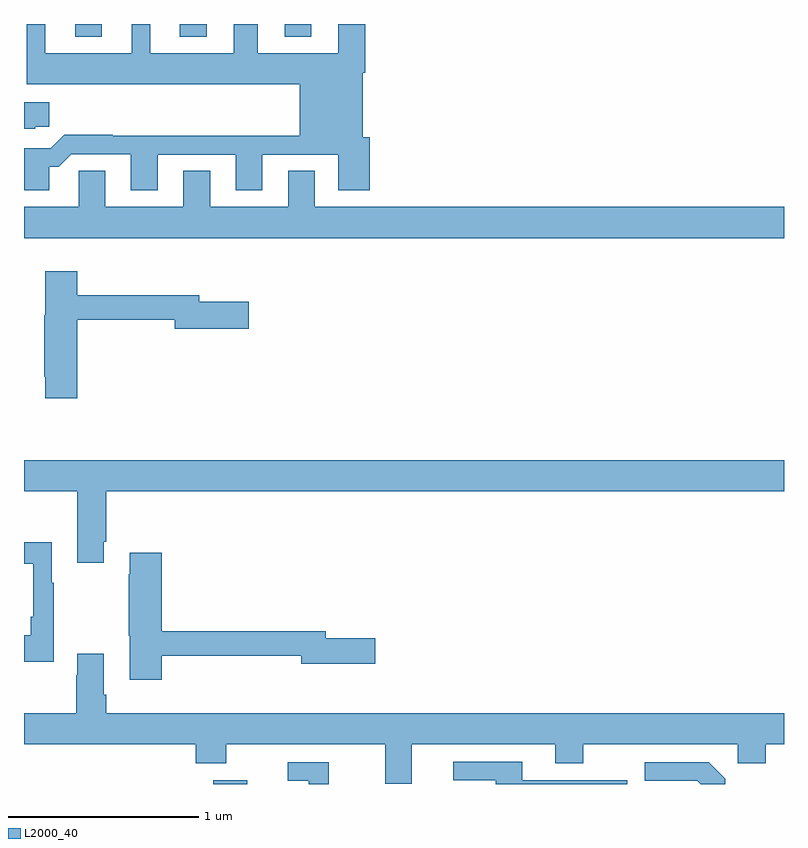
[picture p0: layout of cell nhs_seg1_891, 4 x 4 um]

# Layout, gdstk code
import gdstk
lib = gdstk.Library(unit=1e-6, precision=1e-09)
def R(c, l, rs):  # rectangles x0, y0, x1, y1
    for r in rs: c.add(gdstk.rectangle(r[:2], r[2:], *l))
def A(c, l, x, y, w, h, nx, ny, dx, dy):  # array of equal rectangles
    R(c, l, [(x+i*dx, y+j*dy, x+i*dx+w, y+j*dy+h) for i in range(nx) for j in range(ny)])
def P(c, l, *ps):  # polygons
    for p in ps: c.add(gdstk.Polygon(p, *l))
L2000_40 = (2000, 40)

nhs_seg1_891 = lib.new_cell('nhs_seg1_891')
A(nhs_seg1_891, L2000_40, 159.269, 546.131, 0.14, 0.068, 3, 1, 0.552, 0)
R(nhs_seg1_891, L2000_40, [(159.995,542.199,160.174,542.218)])
P(nhs_seg1_891, L2000_40, [(159.133,545.447),(159.182,545.447),(159.249,545.514),(159.563,545.514),(159.563,545.325),(159.703,545.325),(159.703,545.511),(160.115,545.511),(160.115,545.325),(160.255,545.325),(160.255,545.511),(160.655,545.511),(160.655,545.325),(160.82,545.325),(160.82,545.604),(160.783,545.604),(160.783,545.942),(160.796,545.942),(160.796,546.199),(160.655,546.199),(160.655,546.046),(160.231,546.046),(160.231,546.199),(160.103,546.199),(160.103,546.046),(159.664,546.046),(159.664,546.199),(159.566,546.199),(159.566,546.046),(159.112,546.046),(159.112,546.199),(159.014,546.199),(159.014,545.882),(160.451,545.882),(160.451,545.612),(159.467,545.612),(159.467,545.615),(159.212,545.615),(159.141,545.544),(159,545.544),(159,545.325),(159.133,545.325)],
  [(159.06,545.659),(159.133,545.659),(159.133,545.788),(159,545.788),(159,545.648),(159.06,545.648)],
  [(163,545.236),(160.531,545.236),(160.531,545.426),(160.391,545.426),(160.391,545.236),(159.979,545.236),(159.979,545.426),(159.839,545.426),(159.839,545.236),(159.427,545.236),(159.427,545.426),(159.288,545.426),(159.288,545.236),(159,545.236),(159,545.072),(163,545.072)],
  [(159.281,544.642),(159.794,544.642),(159.794,544.595),(160.183,544.595),(160.183,544.737),(159.922,544.737),(159.922,544.771),(159.281,544.771),(159.281,544.897),(159.113,544.897),(159.113,544.665),(159.106,544.665),(159.106,544.342),(159.113,544.342),(159.113,544.23),(159.281,544.23)],
  [(159.421,543.475),(159.434,543.475),(159.434,543.74),(163,543.74),(163,543.904),(159,543.904),(159,543.74),(159.281,543.74),(159.281,543.363),(159.421,543.363)],
  [(159.157,543.259),(159.145,543.259),(159.145,543.472),(159,543.472),(159,543.359),(159.048,543.359),(159.048,543.079),(159.036,543.079),(159.036,542.983),(159,542.983),(159,542.843),(159.157,542.843)],
  [(159.725,542.874),(160.46,542.874),(160.46,542.831),(160.849,542.831),(160.849,542.966),(160.588,542.966),(160.588,543.002),(159.725,543.002),(159.725,543.415),(159.557,543.415),(159.557,543.302),(159.55,543.302),(159.55,542.979),(159.557,542.979),(159.557,542.748),(159.725,542.748)],
  [(161.041,542.408),(161.795,542.408),(161.795,542.309),(161.943,542.309),(161.943,542.408),(162.756,542.408),(162.756,542.309),(162.903,542.309),(162.903,542.408),(163,542.408),(163,542.572),(159.434,542.572),(159.434,542.668),(159.421,542.668),(159.421,542.884),(159.281,542.884),(159.281,542.771),(159.274,542.771),(159.274,542.572),(159,542.572),(159,542.408),(159.905,542.408),(159.905,542.309),(160.065,542.309),(160.065,542.408),(160.901,542.408),(160.901,542.2),(161.041,542.2)],
  [(162.174,542.22),(161.623,542.22),(161.623,542.316),(161.259,542.316),(161.259,542.22),(161.483,542.22),(161.483,542.199),(162.174,542.199)],
  [(162.69,542.226),(162.603,542.313),(162.267,542.313),(162.267,542.217),(162.543,542.217),(162.561,542.199),(162.69,542.199)],
  [(160.603,542.313),(160.389,542.313),(160.389,542.217),(160.499,542.217),(160.499,542.199),(160.603,542.199)])

lib.write_gds('nhs_seg1_891.gds')
